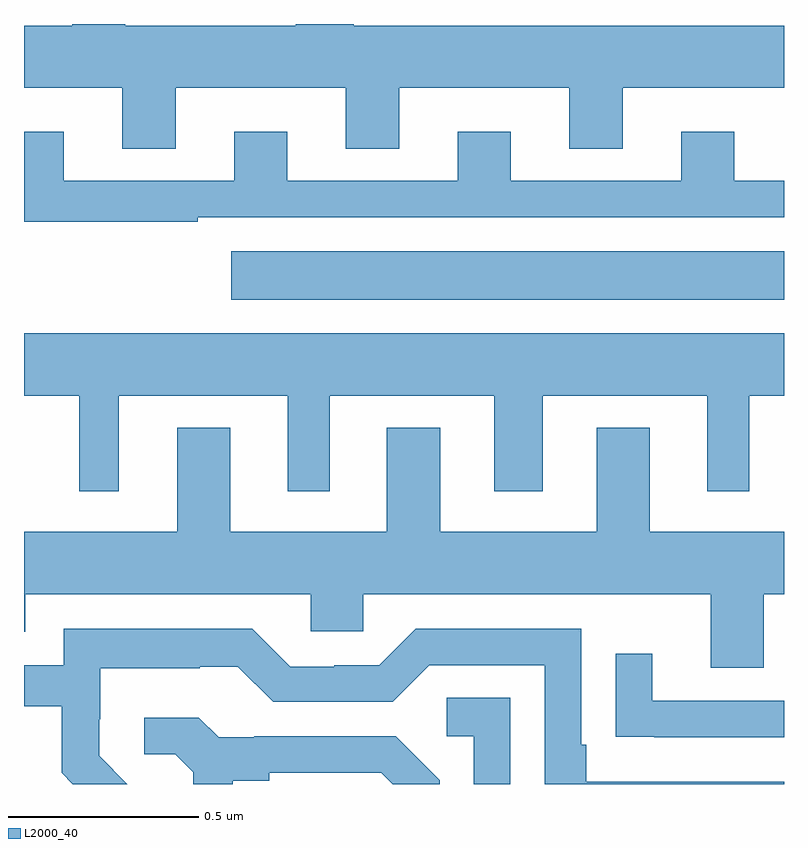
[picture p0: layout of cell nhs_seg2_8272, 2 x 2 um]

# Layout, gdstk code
import gdstk
lib = gdstk.Library(unit=1e-6, precision=1e-09)
def R(c, l, rs):  # rectangles x0, y0, x1, y1
    for r in rs: c.add(gdstk.rectangle(r[:2], r[2:], *l))
def P(c, l, *ps):  # polygons
    for p in ps: c.add(gdstk.Polygon(p, *l))
L2000_40 = (2000, 40)

nhs_seg2_8272 = lib.new_cell('nhs_seg2_8272')
R(nhs_seg2_8272, L2000_40, [(214.545,651.074,216,651.202)])
P(nhs_seg2_8272, L2000_40, [(214.399,651.632),(214.847,651.632),(214.847,651.472),(214.987,651.472),(214.987,651.632),(215.435,651.632),(215.435,651.472),(215.575,651.472),(215.575,651.632),(216,651.632),(216,651.796),(214.868,651.796),(214.868,651.8),(214.715,651.8),(214.715,651.796),(214.267,651.796),(214.267,651.8),(214.127,651.8),(214.127,651.796),(214,651.796),(214,651.632),(214.259,651.632),(214.259,651.472),(214.399,651.472)],
  [(214.457,651.291),(216,651.291),(216,651.387),(215.869,651.387),(215.869,651.517),(215.729,651.517),(215.729,651.387),(215.281,651.387),(215.281,651.517),(215.141,651.517),(215.141,651.387),(214.693,651.387),(214.693,651.517),(214.553,651.517),(214.553,651.387),(214.105,651.387),(214.105,651.517),(214,651.517),(214,651.279),(214.457,651.279)],
  [(214.249,650.822),(214.694,650.822),(214.694,650.571),(214.804,650.571),(214.804,650.822),(215.237,650.822),(215.237,650.571),(215.365,650.571),(215.365,650.822),(215.798,650.822),(215.798,650.571),(215.908,650.571),(215.908,650.822),(216,650.822),(216,650.986),(214,650.986),(214,650.822),(214.145,650.822),(214.145,650.571),(214.249,650.571)],
  [(215.947,650.3),(216,650.3),(216,650.464),(215.647,650.464),(215.647,650.737),(215.507,650.737),(215.507,650.464),(215.095,650.464),(215.095,650.737),(214.955,650.737),(214.955,650.464),(214.543,650.464),(214.543,650.737),(214.403,650.737),(214.403,650.464),(214,650.464),(214,650.201),(214.003,650.201),(214.003,650.3),(214.755,650.3),(214.755,650.202),(214.893,650.202),(214.893,650.3),(215.807,650.3),(215.807,650.106),(215.947,650.106)],
  [(214.198,649.874),(214.198,649.971),(214.2,649.971),(214.2,650.105),(214.463,650.105),(214.463,650.109),(214.563,650.109),(214.656,650.016),(214.971,650.016),(215.067,650.112),(215.37,650.112),(215.37,649.8),(216,649.8),(216,649.806),(215.479,649.806),(215.479,649.903),(215.466,649.903),(215.466,650.208),(215.031,650.208),(214.935,650.112),(214.817,650.112),(214.817,650.109),(214.701,650.109),(214.601,650.209),(214.104,650.209),(214.104,650.112),(214,650.112),(214,650.004),(214.099,650.004),(214.099,649.829),(214.128,649.8),(214.272,649.8)],
  [(216,650.019),(215.653,650.019),(215.653,650.143),(215.557,650.143),(215.557,649.924),(215.659,649.924),(215.659,649.923),(216,649.923)],
  [(215.28,650.027),(215.112,650.027),(215.112,649.926),(215.184,649.926),(215.184,649.8),(215.28,649.8)],
  [(214.549,649.808),(214.645,649.808),(214.645,649.83),(214.94,649.83),(214.97,649.8),(215.094,649.8),(215.094,649.81),(214.978,649.926),(214.606,649.926),(214.606,649.923),(214.512,649.923),(214.46,649.975),(214.317,649.975),(214.317,649.878),(214.398,649.878),(214.445,649.831),(214.445,649.8),(214.549,649.8)])

lib.write_gds('nhs_seg2_8272.gds')
